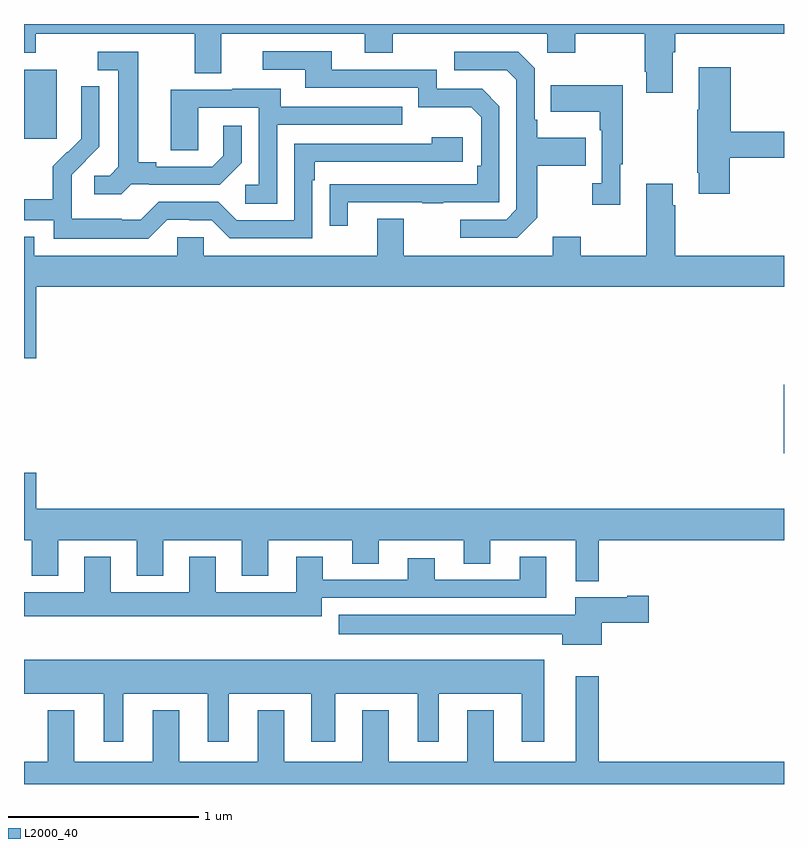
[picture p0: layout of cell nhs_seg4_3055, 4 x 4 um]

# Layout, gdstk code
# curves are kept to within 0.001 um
import gdstk
lib = gdstk.Library(unit=1e-6, precision=1e-09)
def R(c, l, rs):  # rectangles x0, y0, x1, y1
    for r in rs: c.add(gdstk.rectangle(r[:2], r[2:], *l))
def P(c, l, *ps):  # polygons
    for p in ps: c.add(gdstk.Polygon(p, *l))
L2000_40 = (2000, 40)

nhs_seg4_3055 = lib.new_cell('nhs_seg4_3055')
R(nhs_seg4_3055, L2000_40, [(276.998,766.642,277,767.002), (273,768.297,273.172,768.658)])
P(nhs_seg4_3055, L2000_40, [(276.415,768.752),(276.428,768.752),(276.428,768.848),(277,768.848),(277,768.9),(273,768.9),(273,768.749),(273.063,768.749),(273.063,768.848),(273.899,768.848),(273.899,768.64),(274.039,768.64),(274.039,768.848),(274.793,768.848),(274.793,768.749),(274.941,768.749),(274.941,768.848),(275.754,768.848),(275.754,768.749),(275.901,768.749),(275.901,768.848),(276.268,768.848),(276.268,768.649),(276.275,768.649),(276.275,768.537),(276.415,768.537)],
  [(274.705,767.961),(275.095,767.961),(275.095,767.956),(275.207,767.956),(275.207,767.961),(275.502,767.961),(275.502,768.468),(275.412,768.558),(275.172,768.558),(275.172,768.66),(274.621,768.66),(274.621,768.756),(274.257,768.756),(274.257,768.66),(274.481,768.66),(274.481,768.564),(275.076,768.564),(275.076,768.461),(275.353,768.461),(275.406,768.408),(275.406,768.154),(275.386,768.154),(275.386,768.057),(274.609,768.056),(274.609,767.838),(274.705,767.838)],
  [(273.564,768.057),(273.658,768.057),(273.658,768.054),(274.03,768.054),(274.146,768.17),(274.146,768.364),(274.049,768.364),(274.049,768.207),(273.992,768.15),(273.697,768.15),(273.697,768.173),(273.601,768.173),(273.601,768.753),(273.387,768.753),(273.387,768.657),(273.497,768.657),(273.497,768.149),(273.45,768.102),(273.369,768.102),(273.369,768.005),(273.512,768.005)],
  [(275.701,767.881),(275.701,768.154),(275.957,768.154),(275.957,768.301),(275.701,768.301),(275.701,768.397),(275.688,768.397),(275.688,768.666),(275.601,768.753),(275.265,768.753),(275.265,768.657),(275.541,768.657),(275.592,768.606),(275.592,767.925),(275.538,767.871),(275.295,767.871),(275.295,767.775),(275.595,767.775)],
  [(276.714,768.196),(277,768.196),(277,768.332),(276.719,768.332),(276.719,768.673),(276.551,768.673),(276.551,768.449),(276.544,768.449),(276.544,768.118),(276.551,768.118),(276.551,768.006),(276.714,768.006)],
  [(276.139,768.161),(276.151,768.161),(276.151,768.577),(275.773,768.577),(275.773,768.437),(276.03,768.437),(276.03,768.341),(276.042,768.341),(276.042,768.062),(275.991,768.062),(275.991,767.949),(276.139,767.949)],
  [(273.753,767.871),(273.869,767.871),(273.869,767.868),(273.987,767.868),(274.083,767.772),(274.518,767.772),(274.518,768.077),(274.531,768.077),(274.531,768.174),(275.308,768.174),(275.308,768.304),(275.147,768.304),(275.147,768.27),(274.422,768.27),(274.422,767.868),(274.119,767.868),(274.023,767.964),(273.708,767.964),(273.615,767.871),(273.515,767.871),(273.515,767.875),(273.252,767.875),(273.252,768.009),(273.25,768.009),(273.25,768.106),(273.396,768.254),(273.396,768.572),(273.3,768.572),(273.3,768.418),(273.302,768.418),(273.302,768.296),(273.231,768.225),(273.228,768.228),(273.151,768.151),(273.151,767.977),(273,767.977),(273,767.868),(273.156,767.868),(273.156,767.771),(273.653,767.771)],
  [(274.332,768.369),(274.991,768.369),(274.991,768.465),(274.351,768.465),(274.351,768.559),(274.097,768.559),(274.097,768.555),(273.773,768.555),(273.773,768.235),(273.918,768.235),(273.918,768.459),(274.236,768.459),(274.236,768.054),(274.164,768.054),(274.164,767.953),(274.332,767.953)],
  [(273.064,767.516),(277,767.516),(277,767.68),(276.428,767.68),(276.428,767.945),(276.415,767.945),(276.415,768.058),(276.275,768.058),(276.275,767.68),(275.931,767.68),(275.931,767.779),(275.783,767.779),(275.783,767.68),(274.999,767.68),(274.999,767.875),(274.859,767.875),(274.859,767.68),(273.945,767.68),(273.945,767.778),(273.807,767.778),(273.807,767.68),(273.055,767.68),(273.055,767.779),(273,767.779),(273,767.142),(273.064,767.142)],
  [(276.025,766.184),(277,766.184),(277,766.348),(273.064,766.348),(273.064,766.537),(273,766.537),(273,766.184),(273.041,766.184),(273.041,765.995),(273.181,765.995),(273.181,766.184),(273.593,766.184),(273.593,765.995),(273.733,765.995),(273.733,766.184),(274.145,766.184),(274.145,765.995),(274.285,765.995),(274.285,766.184),(274.727,766.184),(274.727,766.06),(274.867,766.06),(274.867,766.184),(275.315,766.184),(275.315,766.06),(275.455,766.06),(275.455,766.184),(275.903,766.184),(275.903,765.968),(276.025,765.968)],
  [(274.567,765.879),(275.749,765.879),(275.749,766.096),(275.609,766.096),(275.609,765.975),(275.161,765.975),(275.161,766.087),(275.021,766.087),(275.021,765.975),(274.573,765.975),(274.573,766.096),(274.433,766.096),(274.433,765.91),(274.009,765.91),(274.009,766.096),(273.869,766.096),(273.869,765.91),(273.457,765.91),(273.457,766.096),(273.317,766.096),(273.317,765.91),(273,765.91),(273,765.782),(274.567,765.782)],
  [(276.04,765.749),(276.289,765.749),(276.289,765.891),(276.176,765.891),(276.176,765.883),(275.9,765.883),(275.9,765.79),(274.656,765.79),(274.656,765.689),(275.834,765.689),(275.834,765.632),(276.04,765.632)],
  [(273.523,765.374),(273.968,765.374),(273.968,765.123),(274.078,765.123),(274.078,765.374),(274.511,765.374),(274.511,765.123),(274.639,765.123),(274.639,765.374),(275.072,765.374),(275.072,765.123),(275.182,765.123),(275.182,765.374),(275.621,765.374),(275.621,765.123),(275.737,765.123),(275.737,765.553),(273,765.553),(273,765.374),(273.419,765.374),(273.419,765.123),(273.523,765.123)],
  [(277,765.016),(276.025,765.016),(276.025,765.466),(275.903,765.466),(275.903,765.016),(275.473,765.016),(275.473,765.289),(275.333,765.289),(275.333,765.016),(274.921,765.016),(274.921,765.289),(274.781,765.289),(274.781,765.016),(274.369,765.016),(274.369,765.289),(274.229,765.289),(274.229,765.016),(273.817,765.016),(273.817,765.289),(273.677,765.289),(273.677,765.016),(273.265,765.016),(273.265,765.289),(273.125,765.289),(273.125,765.016),(273,765.016),(273,764.9),(277,764.9)])

lib.write_gds('nhs_seg4_3055.gds')
